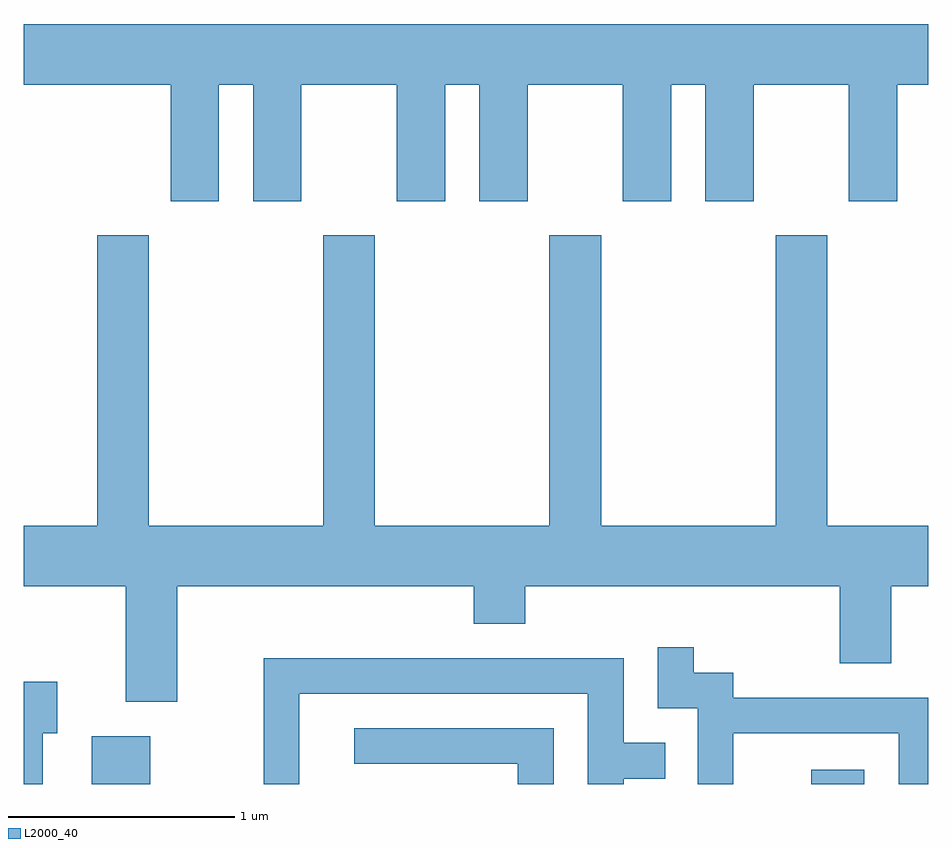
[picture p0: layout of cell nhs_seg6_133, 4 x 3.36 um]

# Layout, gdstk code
import gdstk
lib = gdstk.Library(unit=1e-6, precision=1e-09)
def R(c, l, rs):  # rectangles x0, y0, x1, y1
    for r in rs: c.add(gdstk.rectangle(r[:2], r[2:], *l))
def P(c, l, *ps):  # polygons
    for p in ps: c.add(gdstk.Polygon(p, *l))
L2000_40 = (2000, 40)

nhs_seg6_133 = lib.new_cell('nhs_seg6_133')
R(nhs_seg6_133, L2000_40, [(187.911,1660.162,188.169,1660.374), (191.093,1660.162,191.329,1660.224)])
P(nhs_seg6_133, L2000_40, [(188.474,1663.256),(188.626,1663.256),(188.626,1662.741),(188.839,1662.741),(188.839,1663.256),(189.261,1663.256),(189.261,1662.741),(189.474,1662.741),(189.474,1663.256),(189.626,1663.256),(189.626,1662.741),(189.839,1662.741),(189.839,1663.256),(190.261,1663.256),(190.261,1662.741),(190.474,1662.741),(190.474,1663.256),(190.626,1663.256),(190.626,1662.741),(190.839,1662.741),(190.839,1663.256),(191.261,1663.256),(191.261,1662.741),(191.474,1662.741),(191.474,1663.256),(191.611,1663.256),(191.611,1663.524),(187.611,1663.524),(187.611,1663.256),(188.261,1663.256),(188.261,1662.741),(188.474,1662.741)],
  [(188.289,1661.036),(189.601,1661.036),(189.601,1660.871),(189.829,1660.871),(189.829,1661.036),(191.221,1661.036),(191.221,1660.696),(191.449,1660.696),(191.449,1661.036),(191.611,1661.036),(191.611,1661.304),(191.164,1661.304),(191.164,1662.589),(190.936,1662.589),(190.936,1661.304),(190.164,1661.304),(190.164,1662.589),(189.936,1662.589),(189.936,1661.304),(189.164,1661.304),(189.164,1662.589),(188.936,1662.589),(188.936,1661.304),(188.164,1661.304),(188.164,1662.589),(187.936,1662.589),(187.936,1661.304),(187.611,1661.304),(187.611,1661.036),(188.061,1661.036),(188.061,1660.526),(188.289,1660.526)],
  [(190.749,1660.386),(191.481,1660.386),(191.481,1660.162),(191.611,1660.162),(191.611,1660.544),(190.749,1660.544),(190.749,1660.654),(190.574,1660.654),(190.574,1660.768),(190.416,1660.768),(190.416,1660.496),(190.591,1660.496),(190.591,1660.162),(190.749,1660.162)],
  [(188.829,1660.561),(190.106,1660.561),(190.106,1660.162),(190.264,1660.162),(190.264,1660.186),(190.448,1660.186),(190.448,1660.344),(190.264,1660.344),(190.264,1660.719),(188.671,1660.719),(188.671,1660.162),(188.829,1660.162)],
  [(187.694,1660.386),(187.759,1660.386),(187.759,1660.614),(187.611,1660.614),(187.611,1660.162),(187.694,1660.162)],
  [(189.954,1660.409),(189.073,1660.409),(189.073,1660.251),(189.796,1660.251),(189.796,1660.162),(189.954,1660.162)])

lib.write_gds('nhs_seg6_133.gds')
